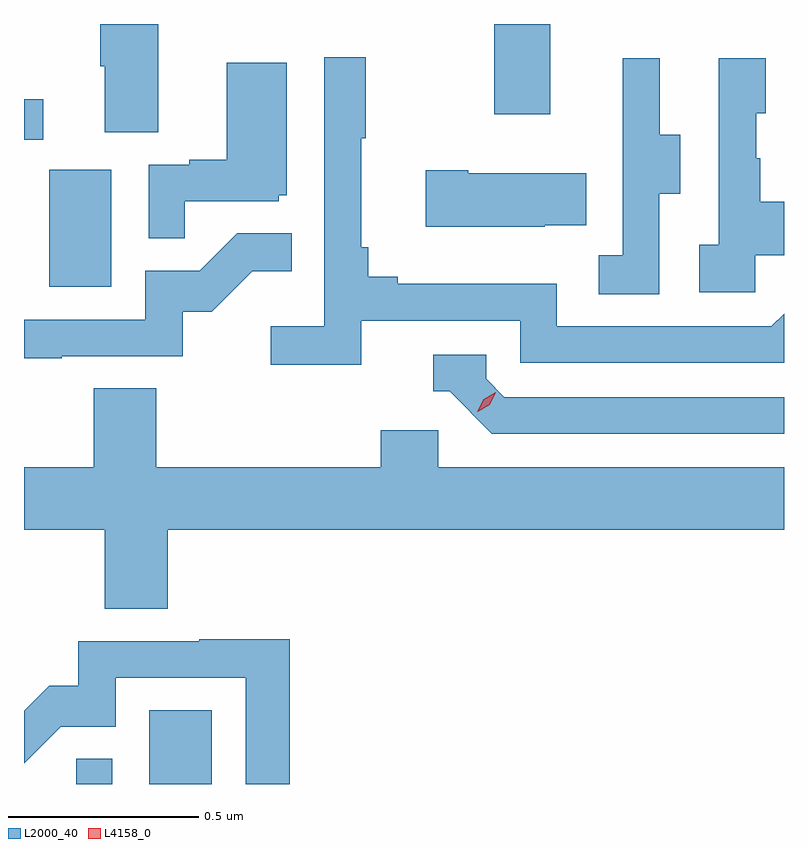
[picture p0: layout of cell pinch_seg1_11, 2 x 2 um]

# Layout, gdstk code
import gdstk
lib = gdstk.Library(unit=1e-6, precision=1e-09)
def R(c, l, rs):  # rectangles x0, y0, x1, y1
    for r in rs: c.add(gdstk.rectangle(r[:2], r[2:], *l))
def P(c, l, *ps):  # polygons
    for p in ps: c.add(gdstk.Polygon(p, *l))
L2000_40 = (2000, 40)
L4158_0 = (4158, 0)

pinch_seg1_11 = lib.new_cell('pinch_seg1_11')
R(pinch_seg1_11, L2000_40, [(1084.693,572.375,1084.788,572.441), (1084.886,572.375,1085.05,572.569), (1084.622,573.684,1084.786,573.991), (1084.556,574.071,1084.606,574.177), (1085.794,574.137,1085.941,574.375)])
P(pinch_seg1_11, L2000_40, [(1084.909,574.375),(1084.757,574.375),(1084.757,574.264),(1084.769,574.264),(1084.769,574.09),(1084.909,574.09)],
  [(1085.444,573.594),(1085.862,573.594),(1085.862,573.483),(1086.556,573.483),(1086.556,573.613),(1086.522,573.579),(1085.958,573.579),(1085.958,573.691),(1085.539,573.691),(1085.539,573.71),(1085.462,573.71),(1085.462,573.787),(1085.443,573.787),(1085.443,574.075),(1085.455,574.075),(1085.455,574.288),(1085.346,574.288),(1085.346,573.58),(1085.205,573.58),(1085.205,573.478),(1085.444,573.478)],
  [(1086.48,573.767),(1086.556,573.767),(1086.556,573.907),(1086.493,573.907),(1086.493,574.022),(1086.483,574.022),(1086.483,574.14),(1086.508,574.14),(1086.508,574.285),(1086.384,574.285),(1086.384,573.794),(1086.333,573.794),(1086.333,573.669),(1086.48,573.669)],
  [(1086.228,573.928),(1086.283,573.928),(1086.283,574.083),(1086.229,574.083),(1086.229,574.285),(1086.131,574.285),(1086.131,574.071),(1086.132,574.071),(1086.132,573.767),(1086.069,573.767),(1086.069,573.664),(1086.228,573.664)],
  [(1084.979,573.909),(1085.226,573.909),(1085.226,573.924),(1085.248,573.924),(1085.248,574.273),(1085.09,574.273),(1085.09,574.018),(1084.991,574.018),(1084.991,574.005),(1084.884,574.005),(1084.884,573.811),(1084.979,573.811)],
  [(1085.927,573.845),(1086.035,573.845),(1086.035,573.982),(1085.725,573.982),(1085.725,573.99),(1085.613,573.99),(1085.613,573.842),(1085.927,573.842)],
  [(1084.655,573.501),(1084.974,573.501),(1084.974,573.618),(1085.05,573.618),(1085.157,573.725),(1085.261,573.725),(1085.261,573.824),(1085.117,573.824),(1085.019,573.726),(1084.875,573.726),(1084.875,573.597),(1084.556,573.597),(1084.556,573.496),(1084.655,573.496)],
  [(1086.556,573.393),(1085.82,573.393),(1085.772,573.441),(1085.772,573.504),(1085.633,573.504),(1085.633,573.408),(1085.676,573.408),(1085.787,573.297),(1086.556,573.297)],
  [(1086.556,573.208),(1085.646,573.208),(1085.646,573.306),(1085.495,573.306),(1085.495,573.208),(1084.904,573.208),(1084.904,573.416),(1084.739,573.416),(1084.739,573.208),(1084.556,573.208),(1084.556,573.044),(1084.769,573.044),(1084.769,572.836),(1084.934,572.836),(1084.934,573.044),(1086.556,573.044)],
  [(1085.255,572.756),(1085.017,572.756),(1085.017,572.751),(1084.699,572.751),(1084.699,572.634),(1084.622,572.634),(1084.556,572.568),(1084.556,572.429),(1084.653,572.526),(1084.797,572.526),(1084.797,572.655),(1085.139,572.655),(1085.139,572.375),(1085.255,572.375)])
P(pinch_seg1_11, L4158_0, [(1085.749,573.355),(1085.749,573.355),(1085.766,573.387),(1085.797,573.406),(1085.797,573.406),(1085.797,573.405),(1085.781,573.373),(1085.75,573.355)])

lib.write_gds('pinch_seg1_11.gds')
